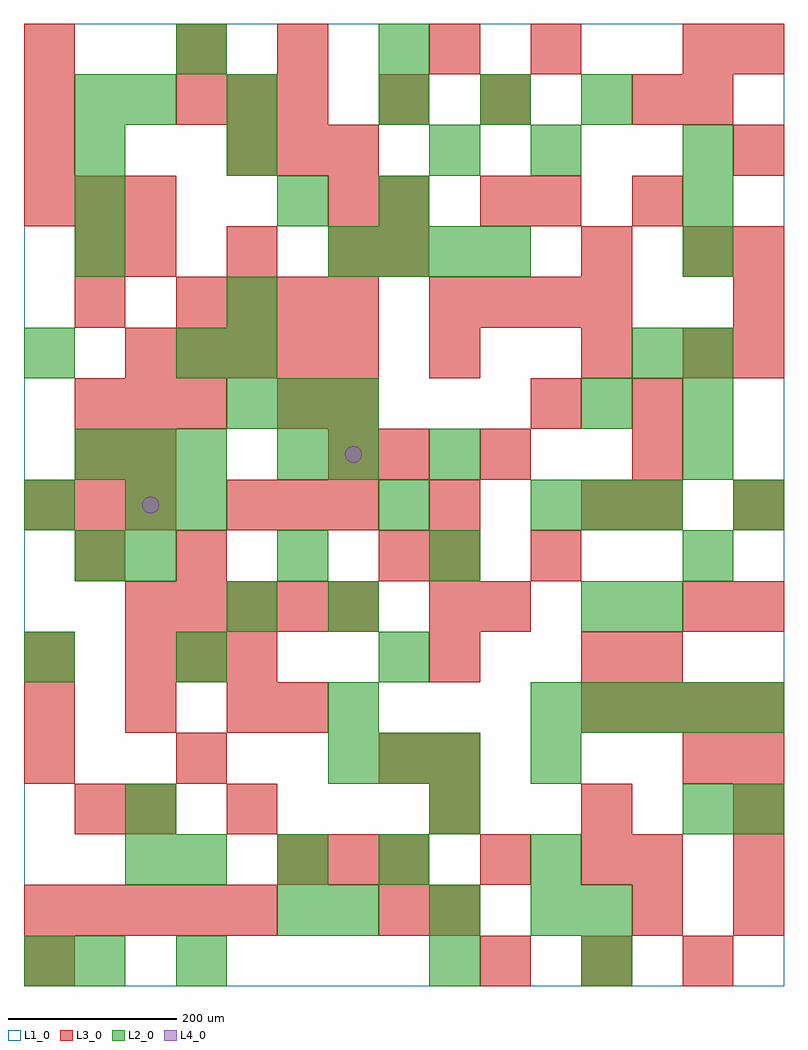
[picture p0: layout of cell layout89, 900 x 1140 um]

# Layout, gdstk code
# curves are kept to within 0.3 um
import gdstk
lib = gdstk.Library(unit=1e-6, precision=1e-09)
def R(c, l, rs):  # rectangles x0, y0, x1, y1
    for r in rs: c.add(gdstk.rectangle(r[:2], r[2:], *l))
def A(c, l, x, y, w, h, nx, ny, dx, dy):  # array of equal rectangles
    R(c, l, [(x+i*dx, y+j*dy, x+i*dx+w, y+j*dy+h) for i in range(nx) for j in range(ny)])
def P(c, l, *ps):  # polygons
    for p in ps: c.add(gdstk.Polygon(p, *l))
L1_0 = (1, 0)
L2_0 = (2, 0)
L3_0 = (3, 0)
L4_0 = (4, 0)

layout89 = lib.new_cell('layout89')
R(layout89, L1_0, [(0,0,900,1140)])
A(layout89, L2_0, 360, 60, 60, 60, 3, 1, 120, 0)
A(layout89, L2_0, 180, 120, 60, 60, 3, 1, 120, 0)
A(layout89, L2_0, 360, 240, 60, 60, 3, 1, 60, 0)
A(layout89, L2_0, 600, 300, 60, 60, 5, 1, 60, 0)
A(layout89, L2_0, 0, 360, 60, 60, 1, 3, 0, 180)
A(layout89, L2_0, 180, 360, 60, 60, 1, 3, 0, 180)
A(layout89, L2_0, 120, 480, 60, 60, 3, 1, 180, 0)
A(layout89, L2_0, 600, 540, 60, 60, 3, 1, 60, 0)
A(layout89, L2_0, 60, 600, 60, 60, 3, 1, 60, 0)
A(layout89, L2_0, 780, 600, 60, 60, 1, 3, 0, 60)
A(layout89, L2_0, 240, 660, 60, 60, 3, 1, 60, 0)
A(layout89, L2_0, 60, 840, 60, 60, 1, 4, 0, 60)
A(layout89, L2_0, 360, 840, 60, 60, 4, 1, 60, 0)
A(layout89, L2_0, 780, 840, 60, 60, 1, 3, 0, 60)
A(layout89, L2_0, 420, 1020, 60, 60, 3, 1, 120, 0)
R(layout89, L2_0, [(0,0,60,60), (60,0,120,60), (180,0,240,60), (480,0,540,60), (660,0,720,60), (300,60,360,120), (660,60,720,120), (120,120,180,180), (600,120,660,180), (120,180,180,240), (480,180,540,240), (780,180,840,240), (840,180,900,240), (600,240,660,300), (360,300,420,360), (420,360,480,420), (240,420,300,480), (360,420,420,480), (660,420,720,480), (720,420,780,480), (60,480,120,540), (780,480,840,540), (120,540,180,600), (420,540,480,600), (840,540,900,600), (300,600,360,660), (360,600,420,660), (480,600,540,660), (660,660,720,720), (240,720,300,780), (720,720,780,780), (240,780,300,840), (300,900,360,960), (420,900,480,960), (240,960,300,1020), (480,960,540,1020), (600,960,660,1020), (120,1020,180,1080), (240,1020,300,1080), (180,1080,240,1140), (420,1080,480,1140)])
A(layout89, L3_0, 540, 0, 60, 60, 3, 1, 120, 0)
A(layout89, L3_0, 0, 60, 60, 60, 5, 1, 60, 0)
A(layout89, L3_0, 300, 120, 60, 60, 3, 1, 60, 0)
A(layout89, L3_0, 480, 180, 60, 60, 3, 1, 180, 0)
A(layout89, L3_0, 0, 300, 60, 60, 3, 1, 120, 0)
A(layout89, L3_0, 660, 300, 60, 60, 4, 1, 60, 0)
A(layout89, L3_0, 120, 360, 60, 60, 3, 1, 60, 0)
A(layout89, L3_0, 480, 360, 60, 60, 1, 4, 0, 60)
A(layout89, L3_0, 660, 360, 60, 60, 1, 3, 0, 180)
A(layout89, L3_0, 120, 420, 60, 60, 5, 2, 60, 300)
A(layout89, L3_0, 0, 540, 60, 60, 3, 2, 60, 360)
A(layout89, L3_0, 240, 540, 60, 60, 3, 2, 60, 420)
A(layout89, L3_0, 720, 540, 60, 60, 1, 3, 0, 60)
A(layout89, L3_0, 60, 660, 60, 60, 3, 1, 60, 0)
A(layout89, L3_0, 840, 720, 60, 60, 1, 3, 0, 60)
A(layout89, L3_0, 180, 780, 60, 60, 4, 1, 60, 0)
A(layout89, L3_0, 480, 780, 60, 60, 4, 1, 60, 0)
A(layout89, L3_0, 120, 840, 60, 60, 3, 1, 120, 0)
A(layout89, L3_0, 0, 960, 60, 60, 1, 3, 0, 60)
A(layout89, L3_0, 180, 1020, 60, 60, 3, 1, 60, 0)
R(layout89, L3_0, [(0,0,60,60), (420,60,480,120), (480,60,540,120), (720,60,780,120), (840,60,900,120), (540,120,600,180), (660,120,720,180), (720,120,780,180), (840,120,900,180), (60,180,120,240), (120,180,180,240), (240,180,300,240), (0,240,60,300), (180,240,240,300), (420,240,480,300), (480,240,540,300), (780,240,840,300), (840,240,900,300), (300,300,360,360), (0,360,60,420), (720,360,780,420), (540,420,600,480), (780,420,840,480), (840,420,900,480), (60,480,120,540), (180,480,240,540), (420,480,480,540), (600,480,660,540), (840,540,900,600), (60,600,120,660), (120,600,180,660), (360,600,420,660), (420,600,480,660), (540,600,600,660), (300,660,360,720), (360,660,420,720), (600,660,660,720), (480,720,540,780), (780,720,840,780), (60,780,120,840), (60,840,120,900), (420,840,480,900), (660,840,720,900), (780,840,840,900), (360,900,420,960), (420,900,480,960), (540,900,600,960), (600,900,660,960), (720,900,780,960), (840,960,900,1020), (420,1020,480,1080), (540,1020,600,1080), (720,1020,780,1080), (780,1020,840,1080), (180,1080,240,1140), (300,1080,360,1140), (480,1080,540,1140), (600,1080,660,1140), (780,1080,840,1140), (840,1080,900,1140)])
P(layout89, L4_0, [(160,570),(159.239,573.827),(157.071,577.071),(153.827,579.239),(150,580),(146.173,579.239),(142.929,577.071),(140.761,573.827),(140,570),(140.761,566.173),(142.929,562.929),(146.173,560.761),(150,560),(153.827,560.761),(157.071,562.929),(159.239,566.173)],
  [(400,630),(399.239,633.827),(397.071,637.071),(393.827,639.239),(390,640),(386.173,639.239),(382.929,637.071),(380.761,633.827),(380,630),(380.761,626.173),(382.929,622.929),(386.173,620.761),(390,620),(393.827,620.761),(397.071,622.929),(399.239,626.173)])

lib.write_gds('layout89.gds')
